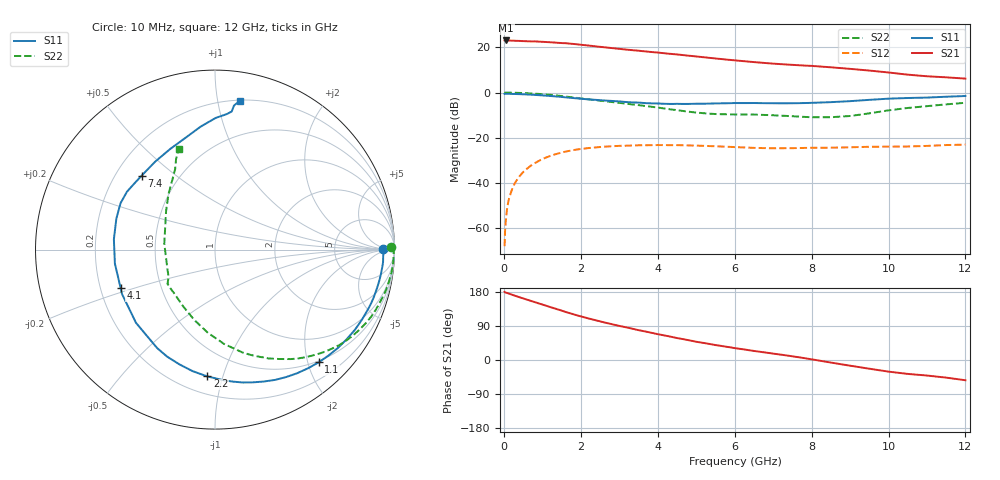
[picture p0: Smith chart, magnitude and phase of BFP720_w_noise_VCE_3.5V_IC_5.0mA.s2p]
! Infineon Technologies  Discrete & RF Semiconductors
! BFP720
! VCE =  3.5 V,  IC =  5.0 mA
! Common Emitter S-Parameters:  Aug 2012
# GHz  S  MA  R  50
!  f  S11  S21  S12  S22
! GHz  MAG  ANG  MAG  ANG  MAG  ANG  MAG  ANG
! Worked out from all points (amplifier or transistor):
!   105 points, 10 MHz to 12 GHz, reference 50 ohm
!   highest |S21| = 23.1 dB at 50 MHz (marker M1)
!   |S21| within 3 dB of that: start of sweep to 2.597 GHz
!   unconditionally stable (mu >= 1): start of sweep to 11.86 MHz; 6.535 GHz to 11.44 GHz
!   at 300 MHz: K = 0.07, MSG = 31.2 dB, |S12| = -39.4 dB
!   at 3.6 GHz: K = 0.49, MSG = 20.8 dB, |S12| = -23.3 dB
!   at 12 GHz: K = 0.80, MSG = 14.6 dB, |S12| = -23.0 dB
!   lowest NFmin = 0.39 dB at 450 MHz
!   S11 on the Smith chart (normalised r, x): 10 MHz: 30, +2; 1.1 GHz: 0.47, -2.19; 2.2 GHz: 0.31, -0.89; 4.1 GHz: 0.29, -0.18; 7.4 GHz: 0.31, +0.38; 12 GHz: 0.21, +1.16
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0.01  0.9359 0.3  14.18 179.8  0.0004 16.4  0.983 0.7
0.02  0.9399 -0.7  14.07 178.5  0.0008 66.0  0.996 -0.5
0.05  0.9377 -2.2  14.22 177.5  0.0017 78.9  0.9956 -1.4
0.11  0.9384 -4.7  14.14 175.7  0.004 83.7  0.9956 -3.2
0.25  0.9319 -10.6  14.05 170.6  0.0089 81.6  0.9917 -7.3
0.8  0.8872 -34.4  13.55 152.6  0.0276 68.5  0.9466 -23.3
1.1  0.8533 -47.4  13.11 142.9  0.0369 60.5  0.9052 -31.9
1.6  0.7834 -69.8  12.37 126.7  0.0495 47.8  0.8172 -45.4
1.9  0.7425 -82.2  11.67 117.7  0.0551 40.8  0.7609 -52.9
2.1  0.7175 -89.7  11.18 112.2  0.0579 36.6  0.7246 -57.3
2.2  0.7077 -93.5  10.96 109.4  0.0593 34.5  0.7076 -59.5
2.6  0.6692 -107.3  10.06 99.2  0.0635 27.3  0.6457 -67.6
3  0.6364 -120.4  9.266 89.8  0.0663 21.0  0.5919 -75.2
3.5  0.6001 -137.2  8.43 78.6  0.0682 14.0  0.5275 -84.6
4.1  0.5677 -157.9  7.512 66.1  0.0689 6.8  0.453 -96.9
5  0.5663 174.2  6.297 48.1  0.0671 -2.3  0.3612 -119.8
6.1  0.5858 152.4  5.068 29.9  0.0617 -8.5  0.3278 -140.8
7.4  0.5802 134.7  4.151 11.2  0.0588 -8.5  0.3027 -148.9
8.5  0.6139 113.9  3.625 -6.8  0.0603 -9.7  0.2848 172.9
9.5  0.6902 96.6  3.07 -23.0  0.0632 -11.3  0.3472 141.7
10.5  0.7581 85.0  2.49 -36.7  0.0641 -13.5  0.4567 121.3
12  0.8396 80.6  2.037 -53.4  0.0707 -18.0  0.595 109.9
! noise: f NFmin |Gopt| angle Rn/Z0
0.45  0.39  0.49  4  0.18
1.8  0.49  0.47  25  0.14
2.4  0.53  0.34  60  0.19
5.5  0.68  0.22  65  0.13
10  0.97  0.4  -93  0.22
